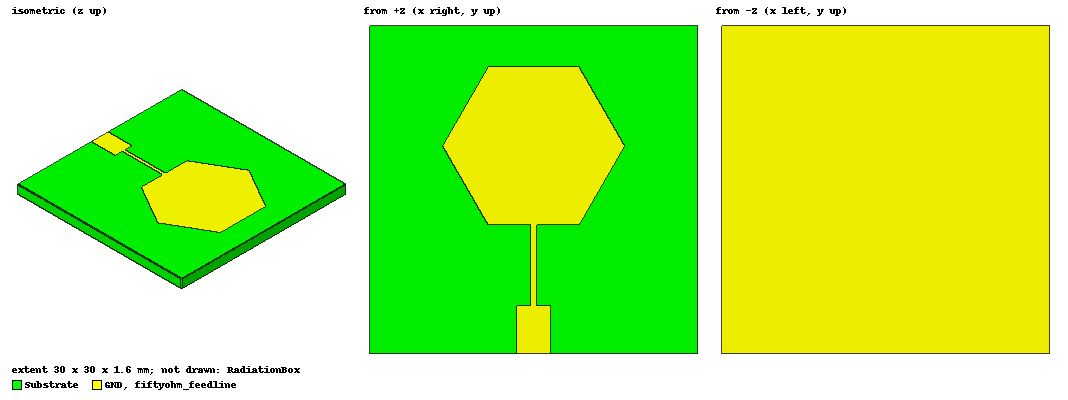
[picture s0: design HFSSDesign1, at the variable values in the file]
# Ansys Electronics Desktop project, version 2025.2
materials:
  vacuum: permittivity=1
  FR4_epoxy: permittivity=4.4 dielectric_loss_tangent=0.02

design HFSSDesign1 (HFSS, HFSS Terminal Network, model units mm)
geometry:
  GND = rectangle(corner=(0mm, 0mm, 0mm), x_size=30mm, y_size=30mm)
  Substrate [FR4_epoxy] = box(corner=(0mm, 0mm, 0mm), size=(30mm, 30mm, 1.6mm))
  Patch = regular_polygon(axis=Z, centre=(15mm, 19mm, 1.6mm), first_corner=((15-8.33) mm, 19mm, 1.6mm), sides=6)
  Edge_Fed = rectangle(corner=((15-0.51/2) mm, 4.37mm, 1.6mm), x_size=0.51mm, y_size=7.42mm)
  Patch.unite(Edge_Fed)
  fiftyohm_feedline = rectangle(corner=((15-3.08/2) mm, 0mm, 1.6mm), x_size=3.08mm, y_size=4.37mm)
  fiftyohm_feedline.unite(Patch)
  Rectangle1 = rectangle(corner=((15-3.08/2) mm, 0mm, 1.6mm), z_size=-1.6mm, x_size=3.08mm)
  RadiationBox [vacuum] = box(corner=(-15mm, -15mm, -13mm), size=(55.6mm, 55.6mm, 27.3mm))
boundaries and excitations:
  PerfE1: Perfect E Objects=Substrate
  PerfE4: Perfect E Objects=GND
  PerfE5: Perfect E Objects=fiftyohm_feedline
  Rad1: Radiation Objects=RadiationBox
  1: Lumped Port Objects=Rectangle1 LumpedPortType=Modal Modes{Mode1{IntLine{(15, 0, 0) -> (15, 0, 1.6)} CharImp=Zpi RenormImp=50ohm}} Impedance=50ohm
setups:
  Setup1: HfssDriven Frequency=5.85GHz MaxDeltaS=0.02 MaximumPasses=20 MinimumPasses=1 MinimumConvergedPasses=1 PercentRefinement=30 BasisOrder=1 PortAccuracy=2 DrivenSolverType="Direct Solver"
    sweep Sweep: 2.925GHz to 8.775GHz, 401 points; Type=Interpolating InterpTolerance=0.5 InterpMaxSolns=250 PassivityErrorTolerance=0.0001
    sweep Sweep1: 2.925GHz to 8.775GHz, 401 points; Type=Interpolating InterpTolerance=0.5 InterpMaxSolns=250 PassivityErrorTolerance=0.0001
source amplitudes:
  1:1: 1V 0deg
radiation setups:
  Infinite Sphere1: Infinite Sphere Theta=0deg..180deg step 10deg Phi=-180deg..180deg step 10deg
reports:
  S Parameter Plot1: dB(S(1,1)) vs Freq on Setup1 : Sweep
